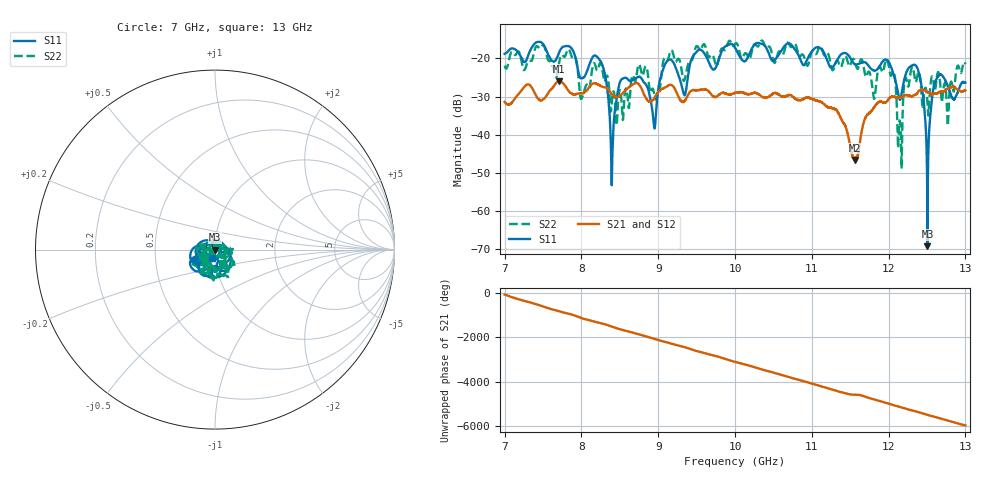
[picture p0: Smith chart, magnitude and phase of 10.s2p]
[Version] 2.0
! Rohde & Schwarz Vector Network Analyzer
! Rohde-Schwarz,ZNL20-2Port,1323001220200009,1.71.1.10-23.02.1.238
! Port Assignments:
! Nominal Port -> Actual Test Port
!  1 -> 1
!  2 -> 2
! Created: GMT+3 2024-09-24 16:05:34
# Hz S DB R 50
[Number of Ports] 2
[Two-Port Data Order] 21_12
! freq[Hz]  S11[mag dB]  S11[ang]  S21[mag dB]  S21[ang]  S12[mag dB]  S12[ang]  S22[mag dB]  S22[ang]
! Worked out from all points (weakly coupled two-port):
!   6001 points, 7 GHz to 13 GHz, reference 50 ohm
!   highest |S21| = -26.02 dB at 7.706 GHz (marker M1); lowest = -46.7 dB at 11.56 GHz (marker M2)
!   lowest |S11| = -69.2 dB at 12.51 GHz (marker M3), VSWR 1.00, Z = 50 + j0.0222 ohm
!   |S11| at or under -10 dB: start of sweep to end of sweep
!   |S22| runs from -48.9 to -15.3 dB; largest |S21 - S12| = 0.0013
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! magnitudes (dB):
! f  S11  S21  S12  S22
! 7 GHz  -18.8  -31.4  -31.5  -21.9
! 7.706 GHz  -18.7  -26.0  -26.0  -21.6
! 8 GHz  -25.2  -29.1  -29.2  -30.6
! 8.258 GHz  -21.0  -27.3  -27.3  -21.5
! 8.398 GHz  -50.8  -29.4  -29.4  -31.0
! 8.528 GHz  -25.4  -29.3  -29.3  -33.0
! 8.75 GHz  -24.8  -26.8  -26.9  -21.5
! 8.944 GHz  -37.4  -30.5  -30.5  -29.0
! 9 GHz  -28.2  -28.8  -28.9  -29.0
! 9.167 GHz  -20.4  -27.0  -27.0  -17.9
! 9.34 GHz  -29.6  -31.2  -31.4  -25.8
! 9.507 GHz  -18.1  -28.4  -28.5  -16.8
! 10 GHz  -17.2  -29.0  -29.1  -16.3
! 11 GHz  -18.3  -30.7  -30.6  -18.2
! 11.56 GHz  -21.6  -46.7  -46.6  -21.0
! 12 GHz  -20.9  -30.7  -30.7  -21.7
! 12.15 GHz  -30.8  -30.3  -30.4  -36.3
! 12.22 GHz  -24.4  -29.7  -29.6  -25.1
! 12.37 GHz  -22.2  -29.3  -29.2  -25.5
! 12.51 GHz  -69.2  -28.8  -28.8  -31.9
! 12.63 GHz  -25.3  -29.2  -29.3  -25.0
! 13 GHz  -26.4  -28.4  -28.4  -21.5
